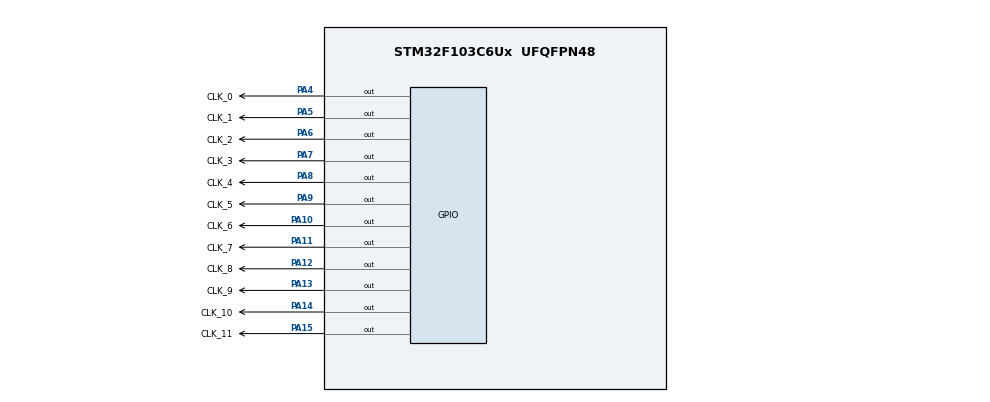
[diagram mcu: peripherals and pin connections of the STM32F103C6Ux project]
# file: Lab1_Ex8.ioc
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Mcu.Family=STM32F1
Mcu.Name=STM32F103C6Ux
Mcu.Package=UFQFPN48
NVIC.PriorityGroup=NVIC_PRIORITYGROUP_4
PA10.GPIO_Label=CLK_6
PA10.Signal=GPIO_Output
PA11.GPIO_Label=CLK_7
PA11.Signal=GPIO_Output
PA12.GPIO_Label=CLK_8
PA12.Signal=GPIO_Output
PA13.GPIO_Label=CLK_9
PA13.Signal=GPIO_Output
PA14.GPIO_Label=CLK_10
PA14.Signal=GPIO_Output
PA15.GPIO_Label=CLK_11
PA15.Signal=GPIO_Output
PA4.GPIO_Label=CLK_0
PA4.Signal=GPIO_Output
PA5.GPIO_Label=CLK_1
PA5.Signal=GPIO_Output
PA6.GPIO_Label=CLK_2
PA6.Signal=GPIO_Output
PA7.GPIO_Label=CLK_3
PA7.Signal=GPIO_Output
PA8.GPIO_Label=CLK_4
PA8.Signal=GPIO_Output
PA9.GPIO_Label=CLK_5
PA9.Signal=GPIO_Output
ProjectManager.HeapSize=0x200
ProjectManager.StackSize=0x400
ProjectManager.TargetToolchain=STM32CubeIDE
RCC.APB1Freq_Value=8000000
RCC.APB2Freq_Value=8000000
VP_SYS_VS_ND.Mode=No_Debug
board=custom

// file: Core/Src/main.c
/* USER CODE BEGIN Header */
/**
  ******************************************************************************
  * @file           : main.c
  * @brief          : Main program body
  ******************************************************************************
  * @attention
  *
  * <h2><center>&copy; Copyright (c) 2022 STMicroelectronics.
  * All rights reserved.</center></h2>
  *
  * This software component is licensed by ST under BSD 3-Clause license,
  * the "License"; You may not use this file except in compliance with the
  * License. You may obtain a copy of the License at:
  *                        opensource.org/licenses/BSD-3-Clause
  *
  ******************************************************************************
  */
/* USER CODE END Header */
#include "main.h"

void SystemClock_Config(void);
static void MX_GPIO_Init(void);
/* USER CODE BEGIN PFP */
void setNumberOnClock(int);
/* USER CODE END PFP */

int main(void)
{

  /* MCU Configuration--------------------------------------------------------*/

  /* Reset of all peripherals, Initializes the Flash interface and the Systick. */
  HAL_Init();

  /* Configure the system clock */
  SystemClock_Config();

  /* Initialize all configured peripherals */
  MX_GPIO_Init();

  /* Infinite loop */
  /* USER CODE BEGIN WHILE */
  while (1)
  {
	  setNumberOnClock(1);
    /* USER CODE END WHILE */

  }
}

void SystemClock_Config(void)
{
  RCC_OscInitTypeDef RCC_OscInitStruct = {0};
  RCC_ClkInitTypeDef RCC_ClkInitStruct = {0};

  /** Initializes the RCC Oscillators according to the specified parameters
  * in the RCC_OscInitTypeDef structure.
  */
  RCC_OscInitStruct.OscillatorType = RCC_OSCILLATORTYPE_HSI;
  RCC_OscInitStruct.HSIState = RCC_HSI_ON;
  RCC_OscInitStruct.HSICalibrationValue = RCC_HSICALIBRATION_DEFAULT;
  RCC_OscInitStruct.PLL.PLLState = RCC_PLL_NONE;
  if (HAL_RCC_OscConfig(&RCC_OscInitStruct) != HAL_OK)
  {
    Error_Handler();
  }
  /** Initializes the CPU, AHB and APB buses clocks
  */
  RCC_ClkInitStruct.ClockType = RCC_CLOCKTYPE_HCLK|RCC_CLOCKTYPE_SYSCLK
                              |RCC_CLOCKTYPE_PCLK1|RCC_CLOCKTYPE_PCLK2;
  RCC_ClkInitStruct.SYSCLKSource = RCC_SYSCLKSOURCE_HSI;
  RCC_ClkInitStruct.AHBCLKDivider = RCC_SYSCLK_DIV1;
  RCC_ClkInitStruct.APB1CLKDivider = RCC_HCLK_DIV1;
  RCC_ClkInitStruct.APB2CLKDivider = RCC_HCLK_DIV1;

  if (HAL_RCC_ClockConfig(&RCC_ClkInitStruct, FLASH_LATENCY_0) != HAL_OK)
  {
    Error_Handler();
  }
}

static void MX_GPIO_Init(void)
{
  GPIO_InitTypeDef GPIO_InitStruct = {0};

  /* GPIO Ports Clock Enable */
  __HAL_RCC_GPIOA_CLK_ENABLE();

  /*Configure GPIO pin Output Level */
  HAL_GPIO_WritePin(GPIOA, CLK_0_Pin|CLK_1_Pin|CLK_2_Pin|CLK_3_Pin
                          |CLK_4_Pin|CLK_5_Pin|CLK_6_Pin|CLK_7_Pin
                          |CLK_8_Pin|CLK_9_Pin|CLK_10_Pin|CLK_11_Pin, GPIO_PIN_RESET);

  /*Configure GPIO pins : CLK_0_Pin CLK_1_Pin CLK_2_Pin CLK_3_Pin
                           CLK_4_Pin CLK_5_Pin CLK_6_Pin CLK_7_Pin
                           CLK_8_Pin CLK_9_Pin CLK_10_Pin CLK_11_Pin */
  GPIO_InitStruct.Pin = CLK_0_Pin|CLK_1_Pin|CLK_2_Pin|CLK_3_Pin
                          |CLK_4_Pin|CLK_5_Pin|CLK_6_Pin|CLK_7_Pin
                          |CLK_8_Pin|CLK_9_Pin|CLK_10_Pin|CLK_11_Pin;
  GPIO_InitStruct.Mode = GPIO_MODE_OUTPUT_PP;
  GPIO_InitStruct.Pull = GPIO_NOPULL;
  GPIO_InitStruct.Speed = GPIO_SPEED_FREQ_LOW;
  HAL_GPIO_Init(GPIOA, &GPIO_InitStruct);

}

/* USER CODE BEGIN 4 */
void setNumberOnClock(int num){
	if (num == 0) HAL_GPIO_WritePin(CLK_0_GPIO_Port, CLK_0_Pin, GPIO_PIN_RESET);
	if (num == 1) HAL_GPIO_WritePin(CLK_1_GPIO_Port, CLK_1_Pin, GPIO_PIN_RESET);
	if (num == 2) HAL_GPIO_WritePin(CLK_2_GPIO_Port, CLK_2_Pin, GPIO_PIN_RESET);
	if (num == 3) HAL_GPIO_WritePin(CLK_3_GPIO_Port, CLK_3_Pin, GPIO_PIN_RESET);
	if (num == 4) HAL_GPIO_WritePin(CLK_4_GPIO_Port, CLK_4_Pin, GPIO_PIN_RESET);
	if (num == 5) HAL_GPIO_WritePin(CLK_5_GPIO_Port, CLK_5_Pin, GPIO_PIN_RESET);
	if (num == 6) HAL_GPIO_WritePin(CLK_6_GPIO_Port, CLK_6_Pin, GPIO_PIN_RESET);
	if (num == 7) HAL_GPIO_WritePin(CLK_7_GPIO_Port, CLK_7_Pin, GPIO_PIN_RESET);
	if (num == 8) HAL_GPIO_WritePin(CLK_8_GPIO_Port, CLK_8_Pin, GPIO_PIN_RESET);
	if (num == 9) HAL_GPIO_WritePin(CLK_9_GPIO_Port, CLK_9_Pin, GPIO_PIN_RESET);
	if (num == 10) HAL_GPIO_WritePin(CLK_10_GPIO_Port, CLK_10_Pin, GPIO_PIN_RESET);
	if (num == 11) HAL_GPIO_WritePin(CLK_11_GPIO_Port, CLK_11_Pin, GPIO_PIN_RESET);
}
/* USER CODE END 4 */

void Error_Handler(void)
{
  __disable_irq();
  while (1)
  {
  }
}

/************************ (C) COPYRIGHT STMicroelectronics *****END OF FILE****/
